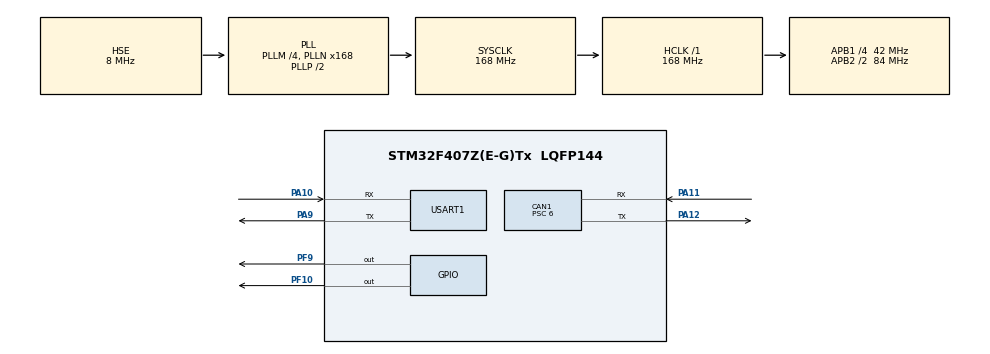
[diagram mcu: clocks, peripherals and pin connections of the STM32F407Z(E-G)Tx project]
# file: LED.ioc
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CAN1.BS1=CAN_BS1_11TQ
CAN1.BS2=CAN_BS2_2TQ
CAN1.CalculateBaudRate=500000
CAN1.CalculateTimeBit=2000
CAN1.CalculateTimeQuantum=142.85714285714286
CAN1.Prescaler=6
Mcu.Family=STM32F4
Mcu.Name=STM32F407Z(E-G)Tx
Mcu.Package=LQFP144
NVIC.CAN1_RX0_IRQn=true\:5\:0\:true\:false\:true\:true\:true\:true
NVIC.PriorityGroup=NVIC_PRIORITYGROUP_4
PA10.Mode=Asynchronous
PA10.Signal=USART1_RX
PA11.Mode=CAN_Activate
PA11.Signal=CAN1_RX
PA12.Mode=CAN_Activate
PA12.Signal=CAN1_TX
PA13.Mode=Serial_Wire
PA13.Signal=SYS_JTMS-SWDIO
PA14.Mode=Serial_Wire
PA14.Signal=SYS_JTCK-SWCLK
PA9.Mode=Asynchronous
PA9.Signal=USART1_TX
PF10.PinState=GPIO_PIN_SET
PF10.Signal=GPIO_Output
PF9.PinState=GPIO_PIN_SET
PF9.Signal=GPIO_Output
PH0-OSC_IN.Mode=HSE-External-Oscillator
PH0-OSC_IN.Signal=RCC_OSC_IN
PH1-OSC_OUT.Mode=HSE-External-Oscillator
PH1-OSC_OUT.Signal=RCC_OSC_OUT
ProjectManager.HeapSize=0x200
ProjectManager.StackSize=0x400
ProjectManager.TargetToolchain=MDK-ARM V5.32
RCC.48MHZClocksFreq_Value=84000000
RCC.AHBFreq_Value=168000000
RCC.APB1CLKDivider=RCC_HCLK_DIV4
RCC.APB1Freq_Value=42000000
RCC.APB1TimFreq_Value=84000000
RCC.APB2CLKDivider=RCC_HCLK_DIV2
RCC.APB2Freq_Value=84000000
RCC.APB2TimFreq_Value=168000000
RCC.CortexFreq_Value=168000000
RCC.HCLKFreq_Value=168000000
RCC.HSE_VALUE=8000000
RCC.HSI_VALUE=16000000
RCC.LSE_VALUE=32768
RCC.PLLM=4
RCC.PLLN=168
RCC.PLLSourceVirtual=RCC_PLLSOURCE_HSE
RCC.SYSCLKFreq_VALUE=168000000
RCC.SYSCLKSource=RCC_SYSCLKSOURCE_PLLCLK
RCC.VCOOutputFreq_Value=336000000
USART1.VirtualMode=VM_ASYNC
board=custom

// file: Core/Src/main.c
/* USER CODE BEGIN Header */
/**
  ******************************************************************************
  * @file           : main.c
  * @brief          : Main program body
  ******************************************************************************
  * @attention
  *
  * Copyright (c) 2026 STMicroelectronics.
  * All rights reserved.
  *
  * This software is licensed under terms that can be found in the LICENSE file
  * in the root directory of this software component.
  * If no LICENSE file comes with this software, it is provided AS-IS.
  *
  ******************************************************************************
  */
/* USER CODE END Header */
#include "main.h"
#include "can.h"
#include "usart.h"
#include "gpio.h"

/* USER CODE BEGIN Includes */
#include "stdint.h"
#include "uds.h"
#include "isotp.h"
#include "flash_if.h"
/* USER CODE END Includes */

/* USER CODE BEGIN PD */
#define SHARED_RAM_MAGIC_ADDR  0x2001FFFC
#define ENTER_BOOTLOADER_MAGIC 0xDEADBEEF
#define APP_START_ADDRESS      0x08010000
typedef void (*pFunction)(void);
/* USER CODE END PD */

void SystemClock_Config(void);

/* USER CODE BEGIN 0 */
#include <stdio.h>

// 重定向 printf 的底层函数
int fputc(int ch, FILE *f)
{
		// 把字符通过串口1发送出去
		HAL_UART_Transmit(&huart1, (uint8_t *)&ch, 1, 0xFFFF);
		return ch;
}
void Jump_To_App(void)
{
    // 0. 固件签名校验: 防止跳入传输一半的残缺 APP
    if (!Flash_If_Verify_Signature())
    {
        printf("APP签名无效! 留在Bootloader等待刷写...\r\n");
        return; // 签名未写入或已被擦除 → APP 无效 → 死守 Bootloader
    }

    // 1. 检查 APP 存放地址有没有合法的栈顶指针 (防变砖极其重要)
    if (((*(__IO uint32_t*)APP_START_ADDRESS) & 0x2FFE0000) == 0x20000000)
    {
        // 2. 封印一切！关闭所有中断，把外设恢复到上电默认状态
        HAL_RCC_DeInit();
        HAL_DeInit();
        SysTick->CTRL = 0;
        SysTick->LOAD = 0;
        SysTick->VAL = 0;
        __disable_irq();

        // 3. 获取 APP 的 Reset_Handler 地址 (在首地址偏移 4 字节处)
        uint32_t jump_addr = *(__IO uint32_t*)(APP_START_ADDRESS + 4);
        pFunction JumpToApplication = (pFunction)jump_addr;

        // 4. 重置栈顶指针
        __set_MSP(*(__IO uint32_t*)APP_START_ADDRESS);

        // 5. 信仰一跃！跳进 APP！
        JumpToApplication();
    }
    else
    {
        // 如果发现 APP 区域是空的（或者损坏了），绝对不能跳！
        // 留在 Bootloader 里，点亮一个红灯报警，或者通过串口打印错误
			printf("APP区域空着%d", 10);
    }
}
/* USER CODE END 0 */

int main(void)
{

  /* USER CODE BEGIN 1 */
	// 1. 第一时间！开启电源和后备区域时钟
	__HAL_RCC_PWR_CLK_ENABLE();
	HAL_PWR_EnableBkUpAccess();

	// 2. 从绝对安全的物理寄存器读取暗号
	uint32_t magic_word = RTC->BKP0R;

	if (magic_word != 0xDEADBEEF)
	{
			// 没有暗号，正常上电，极速跳转！
			Jump_To_App();
	}
	else
	{
			// 收到暗号，进 Boot！擦除暗号！
			RTC->BKP0R = 0x00000000;
	}
  /* USER CODE END 1 */

  /* MCU Configuration--------------------------------------------------------*/

  /* Reset of all peripherals, Initializes the Flash interface and the Systick. */
  HAL_Init();

  /* Configure the system clock */
  SystemClock_Config();

  /* Initialize all configured peripherals */
  MX_GPIO_Init();
  MX_CAN1_Init();
  MX_USART1_UART_Init();

  /* Infinite loop */
  /* USER CODE BEGIN WHILE */
	// Bootloader 唯一使命是刷写 → 直接进编程会话
	extern uint8_t g_current_session;
	g_current_session = 0x02; // 跳过发 10 02 步骤

	uint32_t s3_timeout_last_tick = HAL_GetTick();
  while (1)
  {
    if (uds_rx_flag == 1)
		{
		    // 临界区: 关中断 → 拷贝 → 清标志 → 开中断
				uint8_t rx_copy[8];
				__disable_irq();
				for (uint8_t i = 0; i < 8; i++) rx_copy[i] = UDS_RxData[i];
				uds_rx_flag = 0;
				__enable_irq();

				// 收到任何 UDS 报文，视为通信活跃，重置 S3 计时器 (续命 10 秒)
				s3_timeout_last_tick = HAL_GetTick();

				// 调用你复制过来的 ISO-TP 接收处理函数
				ISOTP_Receive_Handler(rx_copy);
		}

		// 2. S3 超时监控逻辑 (30秒，覆盖手动操盘+擦除盲区)
		if ((HAL_GetTick() - s3_timeout_last_tick) >= 30000)
		{
				Jump_To_App();
				// 如果 Jump_To_App 返回 (APP 是空的), 重置定时器，不再死锁
				s3_timeout_last_tick = HAL_GetTick();
		}

		// 3. 非阻塞指示灯 (证明 Bootloader 在运行，而不是死机了)
		static uint32_t led_tick = 0;
		if ((HAL_GetTick() - led_tick) >= 500)
		{
				led_tick = HAL_GetTick();
				HAL_GPIO_TogglePin(GPIOF, GPIO_PIN_9);
		}
    /* USER CODE END WHILE */

  }
}

void SystemClock_Config(void)
{
  RCC_OscInitTypeDef RCC_OscInitStruct = {0};
  RCC_ClkInitTypeDef RCC_ClkInitStruct = {0};

  /** Configure the main internal regulator output voltage
  */
  __HAL_RCC_PWR_CLK_ENABLE();
  __HAL_PWR_VOLTAGESCALING_CONFIG(PWR_REGULATOR_VOLTAGE_SCALE1);

  /** Initializes the RCC Oscillators according to the specified parameters
  * in the RCC_OscInitTypeDef structure.
  */
  RCC_OscInitStruct.OscillatorType = RCC_OSCILLATORTYPE_HSE;
  RCC_OscInitStruct.HSEState = RCC_HSE_ON;
  RCC_OscInitStruct.PLL.PLLState = RCC_PLL_ON;
  RCC_OscInitStruct.PLL.PLLSource = RCC_PLLSOURCE_HSE;
  RCC_OscInitStruct.PLL.PLLM = 4;
  RCC_OscInitStruct.PLL.PLLN = 168;
  RCC_OscInitStruct.PLL.PLLP = RCC_PLLP_DIV2;
  RCC_OscInitStruct.PLL.PLLQ = 4;
  if (HAL_RCC_OscConfig(&RCC_OscInitStruct) != HAL_OK)
  {
    Error_Handler();
  }

  /** Initializes the CPU, AHB and APB buses clocks
  */
  RCC_ClkInitStruct.ClockType = RCC_CLOCKTYPE_HCLK|RCC_CLOCKTYPE_SYSCLK
                              |RCC_CLOCKTYPE_PCLK1|RCC_CLOCKTYPE_PCLK2;
  RCC_ClkInitStruct.SYSCLKSource = RCC_SYSCLKSOURCE_PLLCLK;
  RCC_ClkInitStruct.AHBCLKDivider = RCC_SYSCLK_DIV1;
  RCC_ClkInitStruct.APB1CLKDivider = RCC_HCLK_DIV4;
  RCC_ClkInitStruct.APB2CLKDivider = RCC_HCLK_DIV2;

  if (HAL_RCC_ClockConfig(&RCC_ClkInitStruct, FLASH_LATENCY_5) != HAL_OK)
  {
    Error_Handler();
  }
}

void Error_Handler(void)
{
  __disable_irq();
  while (1)
  {
  }
}
